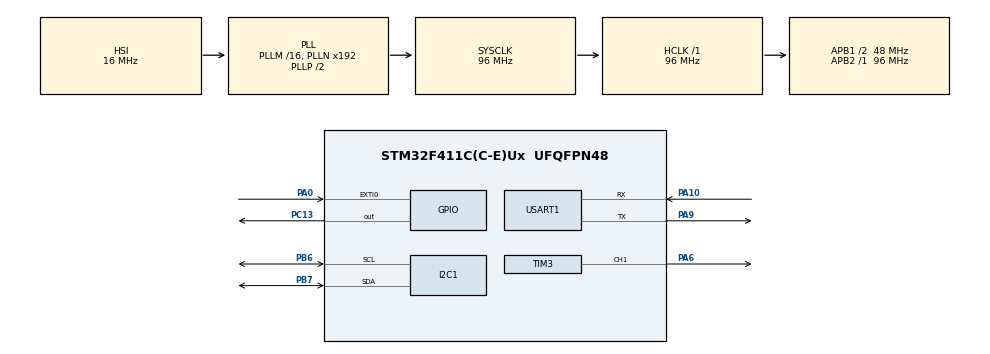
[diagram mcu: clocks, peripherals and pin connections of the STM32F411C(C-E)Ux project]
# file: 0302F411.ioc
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Mcu.Family=STM32F4
Mcu.Name=STM32F411C(C-E)Ux
Mcu.Package=UFQFPN48
NVIC.EXTI0_IRQn=true\:0\:0\:false\:false\:true\:true\:true\:true
NVIC.PriorityGroup=NVIC_PRIORITYGROUP_4
NVIC.TIM2_IRQn=true\:0\:0\:false\:false\:true\:true\:true\:true
NVIC.TIM3_IRQn=true\:0\:0\:false\:false\:true\:true\:true\:true
NVIC.USART1_IRQn=true\:0\:0\:false\:false\:true\:true\:true\:true
PA0-WKUP.GPIO_PuPd=GPIO_PULLUP
PA0-WKUP.Signal=GPXTI0
PA10.Mode=Asynchronous
PA10.Signal=USART1_RX
PA13.Mode=Serial_Wire
PA13.Signal=SYS_JTMS-SWDIO
PA14.Mode=Serial_Wire
PA14.Signal=SYS_JTCK-SWCLK
PA6.Signal=S_TIM3_CH1
PA9.Mode=Asynchronous
PA9.Signal=USART1_TX
PB6.Mode=I2C
PB6.Signal=I2C1_SCL
PB7.Mode=I2C
PB7.Signal=I2C1_SDA
PC13-ANTI_TAMP.Signal=GPIO_Output
ProjectManager.HeapSize=0x200
ProjectManager.StackSize=0x400
ProjectManager.TargetToolchain=STM32CubeIDE
RCC.48MHZClocksFreq_Value=48000000
RCC.AHBFreq_Value=96000000
RCC.APB1CLKDivider=RCC_HCLK_DIV2
RCC.APB1Freq_Value=48000000
RCC.APB1TimFreq_Value=96000000
RCC.APB2Freq_Value=96000000
RCC.APB2TimFreq_Value=96000000
RCC.CortexFreq_Value=96000000
RCC.HCLKFreq_Value=96000000
RCC.HSE_VALUE=25000000
RCC.HSI_VALUE=16000000
RCC.LSE_VALUE=32768
RCC.SYSCLKFreq_VALUE=96000000
RCC.SYSCLKSource=RCC_SYSCLKSOURCE_PLLCLK
RCC.VCOOutputFreq_Value=192000000
SH.S_TIM3_CH1.0=TIM3_CH1,PWM Generation1 CH1
TIM1.Prescaler=95
TIM2.Period=9999
TIM2.Prescaler=9599
TIM3.Channel-PWM\ Generation1\ CH1=TIM_CHANNEL_1
TIM3.Period=2525
USART1.VirtualMode=VM_ASYNC
VP_TIM1_VS_ClockSourceINT.Mode=Internal
VP_TIM2_VS_ClockSourceINT.Mode=Internal
VP_TIM3_VS_ClockSourceINT.Mode=Internal
board=custom

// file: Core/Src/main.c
/* USER CODE BEGIN Header */
/**
  ******************************************************************************
  * @file           : main.c
  * @brief          : Main program body
  ******************************************************************************
  * @attention
  *
  * Copyright (c) 2026 STMicroelectronics.
  * All rights reserved.
  *
  * This software is licensed under terms that can be found in the LICENSE file
  * in the root directory of this software component.
  * If no LICENSE file comes with this software, it is provided AS-IS.
  *
  ******************************************************************************
  */
/* USER CODE END Header */
#include "main.h"

/* USER CODE BEGIN Includes */
#include <stdio.h>
#include <string.h>
#include <stdbool.h>
#include <math.h>
/* USER CODE END Includes */

/* USER CODE BEGIN PM */
typedef enum
{
    STATE_STANDBY = 0,

    STATE_ENV_INIT,
    STATE_ENV_RUN,
    STATE_ENV_DEINIT,

    STATE_GFORCE_INIT,
    STATE_GFORCE_RUN,
    STATE_GFORCE_DEINIT

} system_state_t;
/* USER CODE END PM */

I2C_HandleTypeDef hi2c1;

TIM_HandleTypeDef htim1;
TIM_HandleTypeDef htim2;
TIM_HandleTypeDef htim3;

UART_HandleTypeDef huart1;

/* USER CODE BEGIN PV */

system_state_t current_state = STATE_STANDBY;

#define EVENT_ENV_START   (1 << 0) // 0000 0001
#define EVENT_ENV_STOP    (1 << 1) // 0000 0010
#define EVENT_GFORCE_START     (1 << 2) // 0000 0100
#define EVENT_GFORCE_STOP      (1 << 3) // 0000 1000

uint8_t event_flags = 0;

uint8_t DHT22_Start(void);
uint8_t DHT22_Read(void);

uint8_t I2C1_id;

uint8_t X_byte1 = 0;
uint8_t X_byte2 = 0;
uint8_t Y_byte1 = 0;
uint8_t Y_byte2 = 0;

uint8_t tim2_s = 0;

uint8_t Rh_byte1 = 0;
uint8_t Rh_byte2 = 0;
uint8_t Temp_byte1 = 0;
uint8_t Temp_byte2 = 0;
uint8_t SUM = 0;

uint8_t TX_OK = 0;
uint8_t RX_OK = 0;

uint8_t KEY_status = 0;
uint32_t pMillis, cMillis;

HAL_StatusTypeDef status;

char buffer[300];

uint8_t rx_data;//一個字元

uint8_t ADXL345_data[4];

int16_t ADXL345_X = 0;
int16_t ADXL345_Y = 0;

uint8_t ADXL345_Dataformat = 0;

float Temperature = 0;
float Humidity = 0;

float X_g = 0.0f;
float Y_g = 0.0f;

#define POWER_CTL     0x2D
#define ADXL345_ADDR  (0x53 << 1) //READ
/* USER CODE END PV */

void SystemClock_Config(void);
static void MX_GPIO_Init(void);
static void MX_TIM1_Init(void);
static void MX_USART1_UART_Init(void);
static void MX_TIM2_Init(void);
static void MX_I2C1_Init(void);
static void MX_TIM3_Init(void);
/* USER CODE BEGIN PFP */

//========= STATE MACHINE ====================================

void state_standby(void)
{
	if(tim2_s >= 2)
	{
		HAL_GPIO_TogglePin(GPIOC, GPIO_PIN_13);
		tim2_s = 0;
	}

	if(event_flags & EVENT_ENV_START)
	{
		current_state = STATE_ENV_INIT;
		event_flags &= ~EVENT_ENV_START;
	}
	else if(event_flags & EVENT_GFORCE_START)
	{
		current_state = STATE_GFORCE_INIT;
		event_flags &= ~EVENT_GFORCE_START;
	}
}

void state_env_init(void)
{
	sprintf(buffer,
			"Current State: Single-bus Communication Init (Env Init) \r\n");

	HAL_UART_Transmit(&huart1, (uint8_t*)buffer, strlen(buffer), 100);

	sprintf(buffer,
			"Current State: Environmental Monitoring Mode (Press 'Q' to exit.)\r\n");

	HAL_UART_Transmit(&huart1, (uint8_t*)buffer, strlen(buffer), 100);

	tim2_s = 8;

	current_state = STATE_ENV_RUN;
}

void state_env_run(void)
{

	if(DHT22_Start())
	{
		Rh_byte1 = DHT22_Read ();
		Rh_byte2 = DHT22_Read ();
		Temp_byte1 = DHT22_Read ();
		Temp_byte2 = DHT22_Read ();
		SUM = DHT22_Read();

		Temperature = (float)((Temp_byte1<<8)|Temp_byte2)/10;
		Humidity = (float)((Rh_byte1<<8)|Rh_byte2)/10;
	}

	//if(KEY_status == 1)
	if(tim2_s >= 10)
	{
		HAL_GPIO_TogglePin(GPIOC, GPIO_PIN_13);
		//sprintf(charData,"Temperature: %d C, Humidity: %d %%\r\n", (int)Temperature, (int)Humidity);
		sprintf(buffer,
				"Temperature: %d.%01d *C, Humidity: %d.%01d %%\r\n",
				(int)Temperature,
				(int)(Temperature * 10) % 10,
				(int)Humidity,
				(int)(Humidity * 10) % 10);
		//KEY_status = 0;

		HAL_UART_Transmit(&huart1, (uint8_t*)buffer, strlen(buffer), 100);

		tim2_s = 0;
	}

	if(event_flags & EVENT_ENV_STOP)
	{
		current_state = STATE_ENV_DEINIT;
		event_flags &= ~EVENT_ENV_STOP;
	}

}

void state_env_deinit(void)
{
	sprintf(buffer,
			"Current State: Single-bus Communication DeInit (Env DeInit)\r\n");

	HAL_UART_Transmit(&huart1, (uint8_t*)buffer, strlen(buffer), 100);

	HAL_GPIO_DeInit(GPIOB, GPIO_PIN_9);

	sprintf(buffer,
			"Current State: Standby Mode\r\n"
			"Press 'E' for Environmental Monitoring Mode\r\n"
            "Press 'G' for G-Force Measuring Mode\r\n");

	HAL_UART_Transmit(&huart1, (uint8_t*)buffer, strlen(buffer), 300);

	current_state = STATE_STANDBY;
}

void state_gforce_init(void)
{
	sprintf(buffer,
			"Current State: I2C Init (G-Force Init)\r\n");

	HAL_UART_Transmit(&huart1, (uint8_t*)buffer, strlen(buffer), 100);

	MX_I2C1_Init();
	HAL_I2C_Mem_Read(&hi2c1,
				   ADXL345_ADDR,
				   0x00,
				   I2C_MEMADD_SIZE_8BIT,
				   &I2C1_id,
				   1,
				   100);
	uint8_t ADXL345_cmd = 0x08;   // measure bit
	HAL_I2C_Mem_Write(&hi2c1, ADXL345_ADDR, POWER_CTL, I2C_MEMADD_SIZE_8BIT, &ADXL345_cmd, 1, 100);
	//set Measure bit to 1, then start measuring
	HAL_I2C_Mem_Write(&hi2c1, ADXL345_ADDR, 0x31, I2C_MEMADD_SIZE_8BIT, &ADXL345_cmd, 1, 100);
	//set FULL_RES in DATA_FORMAT

	sprintf(buffer,
			"Current State: G-Force Measuring Mode (Press 'Q' to exit.)\r\n");

	HAL_UART_Transmit(&huart1, (uint8_t*)buffer, strlen(buffer), 100);

	current_state = STATE_GFORCE_RUN;
}

void state_gforce_run(void)
{
	HAL_I2C_Mem_Read(&hi2c1, ADXL345_ADDR, 0x32, I2C_MEMADD_SIZE_8BIT, ADXL345_data, 4, 100);
	ADXL345_X = (int16_t)((ADXL345_data[1] << 8) | ADXL345_data[0]);
	ADXL345_Y = (int16_t)((ADXL345_data[3] << 8) | ADXL345_data[2]);

	X_g = ADXL345_X / 256.0;
	Y_g = ADXL345_Y / 256.0;

	// 處理 X
	int X_sign = (X_g < 0) ? -1 : 1;
	int X_int = (int)(fabs(X_g));               // 取絕對值整數部分
	int X_frac = (int)(fabs(X_g) * 100) % 100; // 小數部分

	// 處理 Y
	int Y_sign = (Y_g < 0) ? -1 : 1;
	int Y_int = (int)(fabs(Y_g));
	int Y_frac = (int)(fabs(Y_g) * 100) % 100;

	if(tim2_s >= 1)
	{
		HAL_GPIO_TogglePin(GPIOC, GPIO_PIN_13);
		//sprintf(charData,"Temperature: %d C, Humidity: %d %%\r\n", (int)Temperature, (int)Humidity);
		sprintf(buffer,
		        "X_g: %c%d.%02d G, Y_g: %c%d.%02d G\r\n",
		        (X_sign < 0) ? '-' : '+', X_int, X_frac,
		        (Y_sign < 0) ? '-' : '+', Y_int, Y_frac);
		//KEY_status = 0;

		HAL_UART_Transmit(&huart1, (uint8_t*)buffer, strlen(buffer), 100);

		tim2_s = 0;
	}

	if(event_flags & EVENT_GFORCE_STOP)
	{
		current_state = STATE_GFORCE_DEINIT;
		event_flags &= ~EVENT_GFORCE_STOP;
	}
}

void state_gforce_deinit(void)
{
	sprintf(buffer,
			"Current State: I2C DeInit (G-Force DeInit)\r\n");

	HAL_UART_Transmit(&huart1, (uint8_t*)buffer, strlen(buffer), 100);

	uint8_t ADXL345_cmd = 0x00;   // measure bit
	HAL_I2C_Mem_Write(&hi2c1, ADXL345_ADDR, POWER_CTL, I2C_MEMADD_SIZE_8BIT, &ADXL345_cmd, 1, 100);
	//set Measure bit to 0, then stop measuring
    HAL_I2C_DeInit(&hi2c1);

	sprintf(buffer,
			"Current State: Standby Mode\r\n"
			"Press 'E' for Environmental Monitoring Mode\r\n"
            "Press 'G' for G-Force Measuring Mode\r\n");

	HAL_UART_Transmit(&huart1, (uint8_t*)buffer, strlen(buffer), 300);

    current_state = STATE_STANDBY;
}

//================================================

void HAL_GPIO_EXTI_Callback(uint16_t GPIO_Pin)
{
	KEY_status = 1;
	HAL_GPIO_TogglePin(GPIOC, GPIO_PIN_13);
}

void microDelay(uint32_t t){

	__HAL_TIM_SET_COUNTER(&htim1,0);
	while(__HAL_TIM_GET_COUNTER(&htim1) < t){
	}
}

// 發射 IR 波形 (GPIO Set/Reset)
void send_ir_waveform_OPEN(void) {
    // high/low 陣列，單位 µs
    uint32_t low_times[]  = {630, 498, 498, 498, 498, 498, 498, 498, 498, 621, 501, 618, 518,
                             501, 474, 474, 474, 474, 474, 474, 474, 474, 474, 474, 474,
                             474, 474, 474, 498, 498, 498, 498, 531, 531, 556, 474, 556, 474,
                             556, 474, 556, 474, 531, 498, 531, 498, 556, 474, 556, 474, 531, 498,
                             474, 474, 474, 498, 498, 498, 499, 525, 499, 500, 500, 606, 526};

    uint32_t high_times[] = {3413, 531, 531, 531, 531, 531, 531, 531, 1564, 1540, 511, 411, 530,
                             556, 556, 556, 556, 556, 556, 556, 556, 556, 556, 556, 556,
                             556, 556, 556, 531, 532, 532, 532, 531, 531, 556, 556, 556, 556,
                             556, 556, 556, 556, 531, 531, 556, 556, 531, 531, 556, 556, 531, 531,
                             1564, 1563, 1562, 1561, 3413, 532};

    uint32_t length_low  = sizeof(low_times) / sizeof(low_times[0]);
    uint32_t length_high = sizeof(high_times) / sizeof(high_times[0]);

    uint32_t length = (length_low < length_high) ? length_low : length_high;

    HAL_TIM_PWM_Start(&htim3, TIM_CHANNEL_1);

    for(uint32_t i = 0; i < length; i++) {
        // low 脈衝，GPIO 低
        //HAL_GPIO_WritePin(GPIOA, GPIO_PIN_5, GPIO_PIN_RESET);
    	__HAL_TIM_SET_COMPARE(&htim3, TIM_CHANNEL_1, 1263);
        microDelay(low_times[i]);

        // HIGH 脈衝
        //HAL_GPIO_WritePin(GPIOA, GPIO_PIN_5, GPIO_PIN_SET);
        __HAL_TIM_SET_COMPARE(&htim3, TIM_CHANNEL_1, 0);
        microDelay(high_times[i]);
    }

    // 發射結束，恢復待機 high
    HAL_TIM_PWM_Stop(&htim3, TIM_CHANNEL_1);
    //HAL_GPIO_WritePin(GPIOA, GPIO_PIN_5, GPIO_PIN_SET);
}

void send_ir_waveform_CLOSE(void) {
    // low/high 時間陣列，單位 µs
    uint32_t low_times[]  = {
        650, 542, 605, 542,
        601, 629, 584, 564, 483, 483, 483, 483,
        504, 482, 482, 482,
        504, 482, 482, 482,
        499, 517, 517, 517, 517, 517,
        480, 517, 480, 581,
        480, 516, 516,
        570, 516, 480,
        516, 516, 516, 479, 514,
        516, 513, 513, 513, 476,
        513, 475,
        513, 475,
        475, 512, 509,
        580, 598
    };

    uint32_t high_times[] = {
        3372, 525, 390, 527,
        393, 437, 469, 466, 548, 548, 548, 528,
        549, 549, 549, 527,
        549, 549, 549, 531,
        513, 514, 514, 514, 514, 551,
        551, 514, 551, 551,
        450, 515, 515,
        551, 424, 551,
        515, 515, 552, 516, 515,
        1549, 515, 516, 517, 556,
        1550, 556,
        1550, 556,
        1590, 1550, 523,
        1590, 3440
    };

    uint32_t length_low  = sizeof(low_times) / sizeof(low_times[0]);
    uint32_t length_high = sizeof(high_times) / sizeof(high_times[0]);
    uint32_t length = (length_low < length_high) ? length_low : length_high;

    HAL_TIM_PWM_Start(&htim3, TIM_CHANNEL_1);

    for(uint32_t i = 0; i < length; i++) {

        // LOW 脈衝
        //HAL_GPIO_WritePin(GPIOA, GPIO_PIN_5, GPIO_PIN_RESET);
    	__HAL_TIM_SET_COMPARE(&htim3, TIM_CHANNEL_1, 1263);
        microDelay(low_times[i]);

        // HIGH 脈衝
        //HAL_GPIO_WritePin(GPIOA, GPIO_PIN_5, GPIO_PIN_SET);
        __HAL_TIM_SET_COMPARE(&htim3, TIM_CHANNEL_1, 0);
        microDelay(high_times[i]);
    }

    // 發射結束，恢復 HIGH
    HAL_TIM_PWM_Stop(&htim3, TIM_CHANNEL_1);
    //HAL_GPIO_WritePin(GPIOA, GPIO_PIN_5, GPIO_PIN_SET);
}

void HAL_TIM_PeriodElapsedCallback(TIM_HandleTypeDef *htim)
{
	if(htim == &htim2)
	{
		tim2_s++;
	}
}

void HAL_UART_RxCpltCallback(UART_HandleTypeDef *huart)
{
	if(huart->Instance == USART1)
	{
		switch(rx_data)
		{
		case 'e'://Just press 'E'
			if(current_state == STATE_STANDBY)
				event_flags |= EVENT_ENV_START;
			else
			{
				HAL_UART_Transmit(&huart1, (uint8_t*)"Please return to Standby Mode first\r\n", 37, 100);
			}
			break;
		case 'g'://Just press 'G'
			if(current_state == STATE_STANDBY)
				event_flags |= EVENT_GFORCE_START;
			else
			{
				HAL_UART_Transmit(&huart1, (uint8_t*)"Please return to Standby Mode first\r\n", 37, 100);
			}
			break;
		case 'q'://Just press 'Q'
			if(current_state == STATE_ENV_RUN)
				event_flags |= EVENT_ENV_STOP;
			else if(current_state == STATE_GFORCE_RUN)
				event_flags |= EVENT_GFORCE_STOP;
			break;

		case 'i'://Just press 'I'
			HAL_UART_Transmit(&huart1, (uint8_t*)"IR_OPEN!!!!!!!!!!\r\n", 19, 100);
			send_ir_waveform_OPEN();
			break;

		case 'p'://Just press 'P'
			HAL_UART_Transmit(&huart1, (uint8_t*)"IR_CLOSE!!!!!!!!!!\r\n", 20, 100);
			send_ir_waveform_CLOSE();
			break;

		default:
			HAL_UART_Transmit(&huart1, (uint8_t*)"Unknown Command\r\n", 17, 100);
			break;
		}

		HAL_UART_Receive_IT(&huart1, &rx_data, 1);
	}
}

/* USER CODE END PFP */

int main(void)
{

  /* MCU Configuration--------------------------------------------------------*/

  /* Reset of all peripherals, Initializes the Flash interface and the Systick. */
  HAL_Init();

  /* Configure the system clock */
  SystemClock_Config();

  /* Initialize all configured peripherals */
  MX_GPIO_Init();
  MX_TIM1_Init();
  MX_USART1_UART_Init();
  MX_TIM2_Init();
  MX_I2C1_Init();
  MX_TIM3_Init();
  /* USER CODE BEGIN 2 */
  HAL_TIM_Base_Start(&htim1);
  HAL_TIM_Base_Start_IT(&htim2);

  HAL_UART_Receive_IT(&huart1, &rx_data, 1);

  sprintf(buffer,
		"Current State: Standby Mode\r\n"
		"Press 'E' for Environmental Monitoring Mode\r\n"
		"Press 'G' for G-Force Measuring Mode\r\n");

  HAL_UART_Transmit(&huart1, (uint8_t*)buffer, strlen(buffer), 300);
  //timeout從100改300，因為傳的字多，baud rate又低，速度不夠

  /* USER CODE END 2 */

  /* Infinite loop */
  while (1)
  {

    /* USER CODE BEGIN 3 */
	switch(current_state)
	{
		case STATE_STANDBY:
			state_standby();
			break;

		// ENV Mode
		case STATE_ENV_INIT:
			state_env_init();
			break;

		case STATE_ENV_RUN:
			state_env_run();
			break;

		case STATE_ENV_DEINIT:
			state_env_deinit();
			break;

		// G-Force Mode
		case STATE_GFORCE_INIT:
			state_gforce_init();
			break;

		case STATE_GFORCE_RUN:
			state_gforce_run();
			break;

		case STATE_GFORCE_DEINIT:
			state_gforce_deinit();
			break;

		default:
			current_state = STATE_STANDBY;
			break;
	}

	microDelay(1000);
  }
  /* USER CODE END 3 */
}

void SystemClock_Config(void)
{
  RCC_OscInitTypeDef RCC_OscInitStruct = {0};
  RCC_ClkInitTypeDef RCC_ClkInitStruct = {0};

  /** Configure the main internal regulator output voltage
  */
  __HAL_RCC_PWR_CLK_ENABLE();
  __HAL_PWR_VOLTAGESCALING_CONFIG(PWR_REGULATOR_VOLTAGE_SCALE1);

  /** Initializes the RCC Oscillators according to the specified parameters
  * in the RCC_OscInitTypeDef structure.
  */
  RCC_OscInitStruct.OscillatorType = RCC_OSCILLATORTYPE_HSI;
  RCC_OscInitStruct.HSIState = RCC_HSI_ON;
  RCC_OscInitStruct.HSICalibrationValue = RCC_HSICALIBRATION_DEFAULT;
  RCC_OscInitStruct.PLL.PLLState = RCC_PLL_ON;
  RCC_OscInitStruct.PLL.PLLSource = RCC_PLLSOURCE_HSI;
  RCC_OscInitStruct.PLL.PLLM = 16;
  RCC_OscInitStruct.PLL.PLLN = 192;
  RCC_OscInitStruct.PLL.PLLP = RCC_PLLP_DIV2;
  RCC_OscInitStruct.PLL.PLLQ = 4;
  if (HAL_RCC_OscConfig(&RCC_OscInitStruct) != HAL_OK)
  {
    Error_Handler();
  }

  /** Initializes the CPU, AHB and APB buses clocks
  */
  RCC_ClkInitStruct.ClockType = RCC_CLOCKTYPE_HCLK|RCC_CLOCKTYPE_SYSCLK
                              |RCC_CLOCKTYPE_PCLK1|RCC_CLOCKTYPE_PCLK2;
  RCC_ClkInitStruct.SYSCLKSource = RCC_SYSCLKSOURCE_PLLCLK;
  RCC_ClkInitStruct.AHBCLKDivider = RCC_SYSCLK_DIV1;
  RCC_ClkInitStruct.APB1CLKDivider = RCC_HCLK_DIV2;
  RCC_ClkInitStruct.APB2CLKDivider = RCC_HCLK_DIV1;

  if (HAL_RCC_ClockConfig(&RCC_ClkInitStruct, FLASH_LATENCY_3) != HAL_OK)
  {
    Error_Handler();
  }
}

static void MX_I2C1_Init(void)
{

  hi2c1.Instance = I2C1;
  hi2c1.Init.ClockSpeed = 100000;
  hi2c1.Init.DutyCycle = I2C_DUTYCYCLE_2;
  hi2c1.Init.OwnAddress1 = 0;
  hi2c1.Init.AddressingMode = I2C_ADDRESSINGMODE_7BIT;
  hi2c1.Init.DualAddressMode = I2C_DUALADDRESS_DISABLE;
  hi2c1.Init.OwnAddress2 = 0;
  hi2c1.Init.GeneralCallMode = I2C_GENERALCALL_DISABLE;
  hi2c1.Init.NoStretchMode = I2C_NOSTRETCH_DISABLE;
  if (HAL_I2C_Init(&hi2c1) != HAL_OK)
  {
    Error_Handler();
  }

}

static void MX_TIM1_Init(void)
{

  TIM_ClockConfigTypeDef sClockSourceConfig = {0};
  TIM_MasterConfigTypeDef sMasterConfig = {0};

  htim1.Instance = TIM1;
  htim1.Init.Prescaler = 95;
  htim1.Init.CounterMode = TIM_COUNTERMODE_UP;
  htim1.Init.Period = 65535;
  htim1.Init.ClockDivision = TIM_CLOCKDIVISION_DIV1;
  htim1.Init.RepetitionCounter = 0;
  htim1.Init.AutoReloadPreload = TIM_AUTORELOAD_PRELOAD_DISABLE;
  if (HAL_TIM_Base_Init(&htim1) != HAL_OK)
  {
    Error_Handler();
  }
  sClockSourceConfig.ClockSource = TIM_CLOCKSOURCE_INTERNAL;
  if (HAL_TIM_ConfigClockSource(&htim1, &sClockSourceConfig) != HAL_OK)
  {
    Error_Handler();
  }
  sMasterConfig.MasterOutputTrigger = TIM_TRGO_RESET;
  sMasterConfig.MasterSlaveMode = TIM_MASTERSLAVEMODE_DISABLE;
  if (HAL_TIMEx_MasterConfigSynchronization(&htim1, &sMasterConfig) != HAL_OK)
  {
    Error_Handler();
  }

}

static void MX_TIM2_Init(void)
{

  TIM_ClockConfigTypeDef sClockSourceConfig = {0};
  TIM_MasterConfigTypeDef sMasterConfig = {0};

  htim2.Instance = TIM2;
  htim2.Init.Prescaler = 9599;
  htim2.Init.CounterMode = TIM_COUNTERMODE_UP;
  htim2.Init.Period = 9999;
  htim2.Init.ClockDivision = TIM_CLOCKDIVISION_DIV1;
  htim2.Init.AutoReloadPreload = TIM_AUTORELOAD_PRELOAD_DISABLE;
  if (HAL_TIM_Base_Init(&htim2) != HAL_OK)
  {
    Error_Handler();
  }
  sClockSourceConfig.ClockSource = TIM_CLOCKSOURCE_INTERNAL;
  if (HAL_TIM_ConfigClockSource(&htim2, &sClockSourceConfig) != HAL_OK)
  {
    Error_Handler();
  }
  sMasterConfig.MasterOutputTrigger = TIM_TRGO_RESET;
  sMasterConfig.MasterSlaveMode = TIM_MASTERSLAVEMODE_DISABLE;
  if (HAL_TIMEx_MasterConfigSynchronization(&htim2, &sMasterConfig) != HAL_OK)
  {
    Error_Handler();
  }

}

static void MX_TIM3_Init(void)
{

  TIM_ClockConfigTypeDef sClockSourceConfig = {0};
  TIM_MasterConfigTypeDef sMasterConfig = {0};
  TIM_OC_InitTypeDef sConfigOC = {0};

  htim3.Instance = TIM3;
  htim3.Init.Prescaler = 0;
  htim3.Init.CounterMode = TIM_COUNTERMODE_UP;
  htim3.Init.Period = 2525;
  htim3.Init.ClockDivision = TIM_CLOCKDIVISION_DIV1;
  htim3.Init.AutoReloadPreload = TIM_AUTORELOAD_PRELOAD_DISABLE;
  if (HAL_TIM_Base_Init(&htim3) != HAL_OK)
  {
    Error_Handler();
  }
  sClockSourceConfig.ClockSource = TIM_CLOCKSOURCE_INTERNAL;
  if (HAL_TIM_ConfigClockSource(&htim3, &sClockSourceConfig) != HAL_OK)
  {
    Error_Handler();
  }
  if (HAL_TIM_PWM_Init(&htim3) != HAL_OK)
  {
    Error_Handler();
  }
  sMasterConfig.MasterOutputTrigger = TIM_TRGO_RESET;
  sMasterConfig.MasterSlaveMode = TIM_MASTERSLAVEMODE_DISABLE;
  if (HAL_TIMEx_MasterConfigSynchronization(&htim3, &sMasterConfig) != HAL_OK)
  {
    Error_Handler();
  }
  sConfigOC.OCMode = TIM_OCMODE_PWM1;
  sConfigOC.Pulse = 1263;
  sConfigOC.OCPolarity = TIM_OCPOLARITY_HIGH;
  sConfigOC.OCFastMode = TIM_OCFAST_DISABLE;
  if (HAL_TIM_PWM_ConfigChannel(&htim3, &sConfigOC, TIM_CHANNEL_1) != HAL_OK)
  {
    Error_Handler();
  }
  HAL_TIM_MspPostInit(&htim3);

}

static void MX_USART1_UART_Init(void)
{

  huart1.Instance = USART1;
  huart1.Init.BaudRate = 9600;
  huart1.Init.WordLength = UART_WORDLENGTH_8B;
  huart1.Init.StopBits = UART_STOPBITS_1;
  huart1.Init.Parity = UART_PARITY_NONE;
  huart1.Init.Mode = UART_MODE_TX_RX;
  huart1.Init.HwFlowCtl = UART_HWCONTROL_NONE;
  huart1.Init.OverSampling = UART_OVERSAMPLING_16;
  if (HAL_UART_Init(&huart1) != HAL_OK)
  {
    Error_Handler();
  }

}

static void MX_GPIO_Init(void)
{
  GPIO_InitTypeDef GPIO_InitStruct = {0};
  /* USER CODE BEGIN MX_GPIO_Init_1 */
  __HAL_RCC_GPIOB_CLK_ENABLE();
  /* USER CODE END MX_GPIO_Init_1 */

  /* GPIO Ports Clock Enable */
  __HAL_RCC_GPIOC_CLK_ENABLE();
  __HAL_RCC_GPIOA_CLK_ENABLE();
  __HAL_RCC_GPIOB_CLK_ENABLE();

  /*Configure GPIO pin Output Level */
  HAL_GPIO_WritePin(GPIOC, GPIO_PIN_13, GPIO_PIN_RESET);

  /*Configure GPIO pin : PC13 */
  GPIO_InitStruct.Pin = GPIO_PIN_13;
  GPIO_InitStruct.Mode = GPIO_MODE_OUTPUT_PP;
  GPIO_InitStruct.Pull = GPIO_NOPULL;
  GPIO_InitStruct.Speed = GPIO_SPEED_FREQ_LOW;
  HAL_GPIO_Init(GPIOC, &GPIO_InitStruct);

  /*Configure GPIO pin : PA0 */
  GPIO_InitStruct.Pin = GPIO_PIN_0;
  GPIO_InitStruct.Mode = GPIO_MODE_IT_RISING;
  GPIO_InitStruct.Pull = GPIO_PULLUP;
  HAL_GPIO_Init(GPIOA, &GPIO_InitStruct);

  /* EXTI interrupt init*/
  HAL_NVIC_SetPriority(EXTI0_IRQn, 0, 0);
  HAL_NVIC_EnableIRQ(EXTI0_IRQn);

}

/* USER CODE BEGIN 4 */
uint8_t DHT22_Start (void)
{
	uint8_t Response = 0;
	GPIO_InitTypeDef GPIO_InitStruct = {0};

	/*Configure GPIO pin : PB9 */
	GPIO_InitStruct.Pin = GPIO_PIN_9;
	GPIO_InitStruct.Mode = GPIO_MODE_OUTPUT_PP;
	GPIO_InitStruct.Pull = GPIO_NOPULL;
	GPIO_InitStruct.Speed = GPIO_SPEED_FREQ_LOW;
	HAL_GPIO_Init(GPIOB, &GPIO_InitStruct);

	HAL_GPIO_WritePin(GPIOB, GPIO_PIN_9, GPIO_PIN_RESET);
	microDelay(1200);

	HAL_GPIO_WritePin(GPIOB, GPIO_PIN_9, GPIO_PIN_SET);
	microDelay(30);

	GPIO_InitStruct.Pin = GPIO_PIN_9;
	GPIO_InitStruct.Mode = GPIO_MODE_INPUT;
	GPIO_InitStruct.Pull = GPIO_PULLUP;
	HAL_GPIO_Init(GPIOB, &GPIO_InitStruct);

	microDelay (40);
	if (!(HAL_GPIO_ReadPin (GPIOB, GPIO_PIN_9)))
	{
		microDelay (80);
		if ((HAL_GPIO_ReadPin (GPIOB, GPIO_PIN_9))) Response = 1;
	}

	pMillis = HAL_GetTick();
	cMillis = HAL_GetTick();
	while ((HAL_GPIO_ReadPin (GPIOB, GPIO_PIN_9)) && pMillis + 2 > cMillis)
	{
	cMillis = HAL_GetTick();
	}

	return Response;
}

uint8_t DHT22_Read (void) //Read 1 byte
{
    uint8_t i = 0;
    for (uint8_t j = 0; j < 8; j++)
    {
//         等待低→高 transition
        while(!HAL_GPIO_ReadPin(GPIOB, GPIO_PIN_9));

        // 開始計時
        __HAL_TIM_SET_COUNTER(&htim1, 0);
        while(HAL_GPIO_ReadPin(GPIOB, GPIO_PIN_9)); // 等到 high 結束
        uint32_t pulse = __HAL_TIM_GET_COUNTER(&htim1); // 高電平時間(us)

        if(pulse > 50) // 高電平 > 50us，判斷為 1
            i |= (1 << (7-j));
        else
            i &= ~(1 << (7-j));
    }
    return i;
}
/* USER CODE END 4 */

void Error_Handler(void)
{
  __disable_irq();
  while (1)
  {
  }
}
